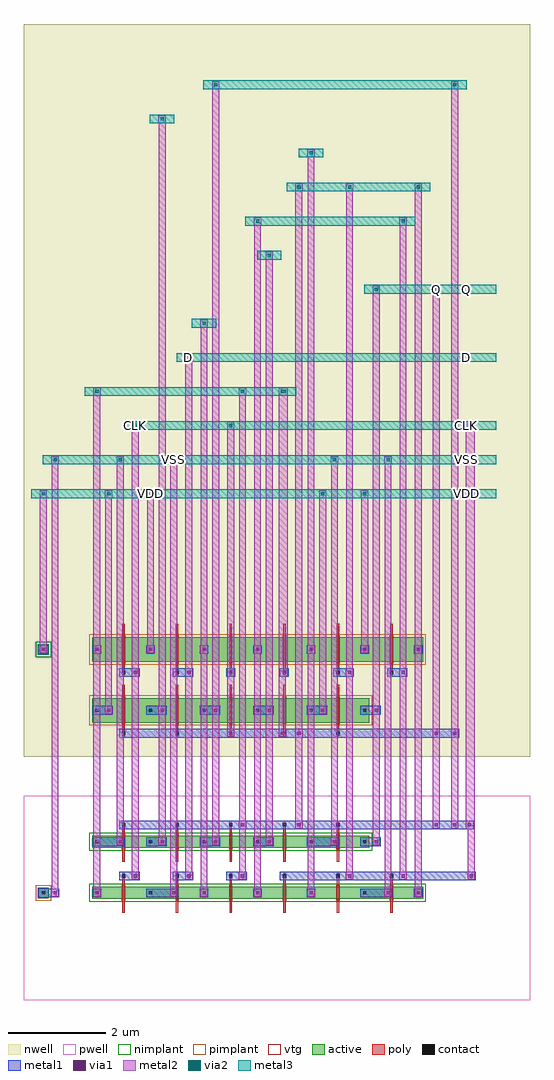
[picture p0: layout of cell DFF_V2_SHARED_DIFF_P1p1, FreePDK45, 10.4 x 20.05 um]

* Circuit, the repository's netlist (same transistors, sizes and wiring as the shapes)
* cell DFF_V2_SHARED_DIFF_P1p1
* pin D
* pin CLK,Q
* pin VDD
* pin VSS
.SUBCKT DFF_V2_SHARED_DIFF_P1p1 3 6 7 8
* net 3 D
* net 6 CLK,Q
* net 7 VDD
* net 8 VSS
* device instance $1 r0 *1 1.75,7 PMOS_VTG
M$1 7 6 6 7 PMOS_VTG L=0.05U W=1.5U AS=0.8375P AD=0.8875P PS=5.35U PD=6.05U
* device instance $2 r0 *1 2.85,7 PMOS_VTG
M$2 1 3 7 7 PMOS_VTG L=0.05U W=0.5U AS=0.2625P AD=0.2625P PS=1.55U PD=1.55U
* device instance $3 r0 *1 3.95,7 PMOS_VTG
M$3 6 6 1 7 PMOS_VTG L=0.05U W=0.5U AS=0.2625P AD=0.2625P PS=1.55U PD=1.55U
* device instance $4 r0 *1 5.05,7 PMOS_VTG
M$4 2 6 6 7 PMOS_VTG L=0.05U W=0.5U AS=0.2625P AD=0.2625P PS=1.55U PD=1.55U
* device instance $5 r0 *1 6.15,7 PMOS_VTG
M$5 7 6 2 7 PMOS_VTG L=0.05U W=0.5U AS=0.2625P AD=0.2625P PS=1.55U PD=1.55U
* device instance $7 r0 *1 1.75,5.75 PMOS_VTG
M$7 4 6 7 7 PMOS_VTG L=0.05U W=0.5U AS=0.3125P AD=0.2625P PS=2.25U PD=1.55U
* device instance $8 r0 *1 2.85,5.75 PMOS_VTG
M$8 6 6 4 7 PMOS_VTG L=0.05U W=0.5U AS=0.2625P AD=0.2625P PS=1.55U PD=1.55U
* device instance $9 r0 *1 3.95,5.75 PMOS_VTG
M$9 5 6 6 7 PMOS_VTG L=0.05U W=0.5U AS=0.2625P AD=0.2625P PS=1.55U PD=1.55U
* device instance $10 r0 *1 5.05,5.75 PMOS_VTG
M$10 7 6 5 7 PMOS_VTG L=0.05U W=0.5U AS=0.2625P AD=0.2625P PS=1.55U PD=1.55U
* device instance $12 r0 *1 1.75,3.05 NMOS_VTG
M$12 4 6 8 8 NMOS_VTG L=0.05U W=0.25U AS=0.15625P AD=0.13125P PS=1.75U PD=1.3U
* device instance $13 r0 *1 2.85,3.05 NMOS_VTG
M$13 6 6 4 8 NMOS_VTG L=0.05U W=0.25U AS=0.13125P AD=0.13125P PS=1.3U PD=1.3U
* device instance $14 r0 *1 3.95,3.05 NMOS_VTG
M$14 5 6 6 8 NMOS_VTG L=0.05U W=0.25U AS=0.13125P AD=0.13125P PS=1.3U PD=1.3U
* device instance $15 r0 *1 5.05,3.05 NMOS_VTG
M$15 8 6 5 8 NMOS_VTG L=0.05U W=0.25U AS=0.13125P AD=0.13125P PS=1.3U PD=1.3U
* device instance $16 r0 *1 6.15,3.05 NMOS_VTG
M$16 6 6 8 8 NMOS_VTG L=0.05U W=0.75U AS=0.41875P AD=0.44375P PS=4.35U PD=4.8U
* device instance $18 r0 *1 2.85,2 NMOS_VTG
M$18 1 3 8 8 NMOS_VTG L=0.05U W=0.25U AS=0.13125P AD=0.13125P PS=1.3U PD=1.3U
* device instance $19 r0 *1 3.95,2 NMOS_VTG
M$19 6 6 1 8 NMOS_VTG L=0.05U W=0.25U AS=0.13125P AD=0.13125P PS=1.3U PD=1.3U
* device instance $20 r0 *1 5.05,2 NMOS_VTG
M$20 2 6 6 8 NMOS_VTG L=0.05U W=0.25U AS=0.13125P AD=0.13125P PS=1.3U PD=1.3U
* device instance $21 r0 *1 6.15,2 NMOS_VTG
M$21 8 6 2 8 NMOS_VTG L=0.05U W=0.25U AS=0.13125P AD=0.13125P PS=1.3U PD=1.3U
.ENDS DFF_V2_SHARED_DIFF_P1p1

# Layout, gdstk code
import gdstk
lib = gdstk.Library(unit=1e-6, precision=5e-10)
def R(c, l, rs):  # rectangles x0, y0, x1, y1
    for r in rs: c.add(gdstk.rectangle(r[:2], r[2:], *l))
def A(c, l, x, y, w, h, nx, ny, dx, dy):  # array of equal rectangles
    R(c, l, [(x+i*dx, y+j*dy, x+i*dx+w, y+j*dy+h) for i in range(nx) for j in range(ny)])
active = (1, 0)
pwell = (2, 0)
nwell = (3, 0)
nimplant = (4, 0)
pimplant = (5, 0)
vtg = (6, 0)
poly = (9, 0)
contact = (10, 0)
metal1 = (11, 0)
via1 = (12, 0)
metal2 = (13, 0)
via2 = (14, 0)
metal3 = (15, 0)

dff_v2_shared_diff_p1p1 = lib.new_cell('DFF_V2_SHARED_DIFF_P1p1')
R(dff_v2_shared_diff_p1p1, active, [(1.1,1.875,7.9,2.125), (-0.01,1.89,0.21,2.11), (1.1,2.925,6.8,3.175), (1.1,5.5,6.8,6), (1.1,6.75,7.9,7.25), (-0.01,6.89,0.21,7.11)])
R(dff_v2_shared_diff_p1p1, pwell, [(-0.3,-0.2,10.1,4)])
R(dff_v2_shared_diff_p1p1, nwell, [(-0.3,4.8,10.1,19.85)])
R(dff_v2_shared_diff_p1p1, nimplant, [(1.04,1.815,7.96,2.185), (1.04,2.865,6.86,3.235), (-0.06,6.84,0.26,7.16)])
R(dff_v2_shared_diff_p1p1, pimplant, [(-0.06,1.84,0.26,2.16), (1.04,5.44,6.86,6.06), (1.04,6.69,7.96,7.31)])
A(dff_v2_shared_diff_p1p1, vtg, 1.715, 1.845, 0.07, 0.31, 6, 1, 1.1, 0)
A(dff_v2_shared_diff_p1p1, vtg, 1.715, 2.895, 0.07, 0.31, 5, 1, 1.1, 0)
A(dff_v2_shared_diff_p1p1, vtg, 1.715, 5.47, 0.07, 0.56, 5, 1, 1.1, 0)
A(dff_v2_shared_diff_p1p1, vtg, 1.715, 6.72, 0.07, 0.56, 6, 1, 1.1, 0)
A(dff_v2_shared_diff_p1p1, poly, 1.725, 1.595, 0.05, 0.81, 6, 1, 1.1, 0)
A(dff_v2_shared_diff_p1p1, poly, 1.725, 2.645, 0.05, 0.81, 5, 1, 1.1, 0)
A(dff_v2_shared_diff_p1p1, poly, 1.725, 5.22, 0.05, 1.06, 5, 1, 1.1, 0)
A(dff_v2_shared_diff_p1p1, poly, 1.725, 6.47, 0.05, 1.06, 6, 1, 1.1, 0)
A(dff_v2_shared_diff_p1p1, contact, 0.07, 1.97, 0.065, 0.065, 8, 2, 1.1, 5)
A(dff_v2_shared_diff_p1p1, contact, 1.72, 2.315, 0.065, 0.065, 6, 2, 1.1, 4.185)
A(dff_v2_shared_diff_p1p1, contact, 1.17, 3.02, 0.065, 0.065, 6, 2, 1.1, 2.7)
A(dff_v2_shared_diff_p1p1, contact, 1.72, 3.365, 0.065, 0.065, 5, 2, 1.1, 1.885)
A(dff_v2_shared_diff_p1p1, metal1, 1.75, 2.255, 0.24, 0.18, 3, 1, 1.1, 0)
A(dff_v2_shared_diff_p1p1, metal1, 2.3, 2.96, 0.24, 0.18, 3, 1, 1.1, 0)
A(dff_v2_shared_diff_p1p1, metal1, 1.66, 3.305, 0.18, 0.18, 3, 2, 1.1, 1.885)
A(dff_v2_shared_diff_p1p1, metal1, 1.2, 5.66, 0.24, 0.18, 6, 1, 1.1, 0)
R(dff_v2_shared_diff_p1p1, metal1, [(0,1.9,0.2,2.1), (0.1,1.91,0.34,2.09), (0.25,1.91,0.43,2.09), (1.11,1.91,1.29,2.09), (1.11,1.91,1.29,2.09), (2.21,1.91,2.39,2.09), (2.3,1.91,2.78,2.09), (2.69,1.91,2.87,2.09), (3.31,1.91,3.49,2.09), (3.31,1.91,3.49,2.09), (4.41,1.91,4.59,2.09), (4.41,1.91,4.59,2.09), (5.51,1.91,5.69,2.09), (5.51,1.91,5.69,2.09), (6.61,1.91,6.79,2.09), (6.7,1.91,7.18,2.09), (7.09,1.91,7.27,2.09), (7.71,1.91,7.89,2.09), (7.71,1.91,7.89,2.09), (1.66,2.255,1.84,2.435), (1.9,2.255,2.08,2.435), (2.76,2.255,2.94,2.435), (3,2.255,3.18,2.435), (3.86,2.255,4.04,2.435), (4.1,2.255,4.28,2.435), (4.96,2.255,5.14,2.435), (5.05,2.255,8.89,2.435), (6.06,2.255,6.24,2.435), (6.15,2.255,6.39,2.435), (6.3,2.255,6.48,2.435), (7.16,2.255,7.34,2.435), (7.25,2.255,7.49,2.435), (7.4,2.255,7.58,2.435), (8.8,2.255,8.98,2.435), (1.11,2.96,1.29,3.14), (1.2,2.96,1.68,3.14), (1.59,2.96,1.77,3.14), (2.21,2.96,2.39,3.14), (2.45,2.96,2.63,3.14), (3.31,2.96,3.49,3.14), (3.55,2.96,3.73,3.14), (4.41,2.96,4.59,3.14), (4.65,2.96,4.83,3.14), (5.51,2.96,5.69,3.14), (5.6,2.96,6.08,3.14), (5.99,2.96,6.17,3.14), (6.61,2.96,6.79,3.14), (6.7,2.96,6.94,3.14), (6.85,2.96,7.03,3.14), (1.75,3.305,5.35,3.485), (2.85,3.305,8.85,3.485), (3.95,3.305,4.19,3.485), (4.1,3.305,4.28,3.485), (4.96,3.305,5.14,3.485), (5.05,3.305,8.17,3.485), (5.26,3.305,5.44,3.485), (6.06,3.305,6.24,3.485), (6.15,3.305,8.55,3.485), (8.08,3.305,8.26,3.485), (8.46,3.305,8.64,3.485), (8.76,3.305,8.94,3.485), (1.75,5.19,5.35,5.37), (2.85,5.19,5.01,5.37), (3.86,5.19,4.04,5.37), (4.92,5.19,5.1,5.37), (4.96,5.19,5.14,5.37), (5.05,5.19,8.17,5.37), (5.26,5.19,5.44,5.37), (6.06,5.19,6.24,5.37), (6.15,5.19,8.55,5.37), (8.08,5.19,8.26,5.37), (8.46,5.19,8.64,5.37), (1.11,5.66,1.29,5.84), (1.35,5.66,1.53,5.84), (2.21,5.66,2.39,5.84), (2.45,5.66,2.63,5.84), (3.31,5.66,3.49,5.84), (3.55,5.66,3.73,5.84), (4.41,5.66,4.59,5.84), (4.65,5.66,4.83,5.84), (5.51,5.66,5.69,5.84), (5.75,5.66,5.93,5.84), (6.61,5.66,6.79,5.84), (6.85,5.66,7.03,5.84), (1.66,6.44,1.84,6.62), (1.75,6.44,1.99,6.62), (1.9,6.44,2.08,6.62), (2.76,6.44,2.94,6.62), (2.85,6.44,3.09,6.62), (3,6.44,3.18,6.62), (3.86,6.44,4.04,6.62), (3.86,6.44,4.04,6.62), (4.96,6.44,5.14,6.62), (4.96,6.44,5.14,6.62), (6.06,6.44,6.24,6.62), (6.15,6.44,6.39,6.62), (6.3,6.44,6.48,6.62), (7.16,6.44,7.34,6.62), (7.25,6.44,7.49,6.62), (7.4,6.44,7.58,6.62), (0,6.9,0.2,7.1), (0.01,6.91,0.19,7.09), (1.11,6.91,1.29,7.09), (1.11,6.91,1.29,7.09), (2.21,6.91,2.39,7.09), (2.21,6.91,2.39,7.09), (3.31,6.91,3.49,7.09), (3.31,6.91,3.49,7.09), (4.41,6.91,4.59,7.09), (4.41,6.91,4.59,7.09), (5.51,6.91,5.69,7.09), (5.51,6.91,5.69,7.09), (6.61,6.91,6.79,7.09), (6.61,6.91,6.79,7.09), (7.71,6.91,7.89,7.09), (7.71,6.91,7.89,7.09)])
A(dff_v2_shared_diff_p1p1, via1, 3.37, 1.97, 0.065, 0.065, 3, 1, 1.1, 0)
A(dff_v2_shared_diff_p1p1, via1, 1.96, 2.315, 0.065, 0.065, 3, 1, 1.1, 0)
A(dff_v2_shared_diff_p1p1, via1, 2.51, 3.02, 0.065, 0.065, 3, 1, 1.1, 0)
A(dff_v2_shared_diff_p1p1, via1, 1.41, 5.72, 0.065, 0.065, 6, 1, 1.1, 0)
A(dff_v2_shared_diff_p1p1, via1, 0.07, 6.97, 0.065, 0.065, 8, 1, 1.1, 0)
R(dff_v2_shared_diff_p1p1, via1, [(0.31,1.97,0.375,2.035), (1.17,1.97,1.235,2.035), (2.75,1.97,2.815,2.035), (7.15,1.97,7.215,2.035), (7.77,1.97,7.835,2.035), (6.36,2.315,6.425,2.38), (7.46,2.315,7.525,2.38), (8.86,2.315,8.925,2.38), (1.65,3.02,1.715,3.085), (6.05,3.02,6.115,3.085), (6.91,3.02,6.975,3.085), (4.16,3.365,4.225,3.43), (5.32,3.365,5.385,3.43), (8.14,3.365,8.205,3.43), (8.52,3.365,8.585,3.43), (8.82,3.365,8.885,3.43), (3.92,5.25,3.985,5.315), (4.98,5.25,5.045,5.315), (5.32,5.25,5.385,5.315), (8.14,5.25,8.205,5.315), (8.52,5.25,8.585,5.315), (1.96,6.5,2.025,6.565), (3.06,6.5,3.125,6.565), (3.92,6.5,3.985,6.565), (5.02,6.5,5.085,6.565), (6.36,6.5,6.425,6.565), (7.46,6.5,7.525,6.565)])
A(dff_v2_shared_diff_p1p1, metal2, 3.325, 1.925, 0.15, 0.15, 3, 1, 1.1, 0)
A(dff_v2_shared_diff_p1p1, metal2, 1.915, 2.27, 0.15, 0.15, 3, 1, 1.1, 0)
A(dff_v2_shared_diff_p1p1, metal2, 2.465, 2.975, 0.15, 0.15, 3, 1, 1.1, 0)
A(dff_v2_shared_diff_p1p1, metal2, 1.365, 5.675, 0.15, 0.15, 6, 1, 1.1, 0)
A(dff_v2_shared_diff_p1p1, metal2, 0.025, 6.925, 0.15, 0.15, 8, 1, 1.1, 0)
R(dff_v2_shared_diff_p1p1, metal2, [(0.265,1.925,0.415,2.075), (1.125,1.925,1.275,2.075), (2.705,1.925,2.855,2.075), (7.105,1.925,7.255,2.075), (7.725,1.925,7.875,2.075), (0.27,2,0.41,10.9), (1.13,2,1.27,12.3), (2.71,2,2.85,10.9), (3.33,2,3.47,13.7), (4.43,2,4.57,15.8), (5.53,2,5.67,17.2), (7.11,2,7.25,10.9), (7.73,2,7.87,16.5), (6.315,2.27,6.465,2.42), (7.415,2.27,7.565,2.42), (8.815,2.27,8.965,2.42), (1.92,2.345,2.06,11.6), (3.02,2.345,3.16,13), (4.12,2.345,4.26,12.3), (6.32,2.345,6.46,16.5), (7.42,2.345,7.56,15.8), (8.82,2.345,8.96,11.6), (1.605,2.975,1.755,3.125), (6.005,2.975,6.155,3.125), (6.865,2.975,7.015,3.125), (1.61,3.05,1.75,10.9), (2.47,3.05,2.61,17.9), (3.57,3.05,3.71,18.6), (4.67,3.05,4.81,15.1), (6.01,3.05,6.15,10.9), (6.87,3.05,7.01,14.4), (4.115,3.32,4.265,3.47), (5.275,3.32,5.425,3.47), (8.095,3.32,8.245,3.47), (8.475,3.32,8.625,3.47), (8.775,3.32,8.925,3.47), (4.12,3.395,4.26,12.3), (5.28,3.395,5.42,16.5), (8.1,3.395,8.24,14.4), (8.48,3.395,8.62,18.6), (8.78,3.395,8.92,11.6), (3.875,5.205,4.025,5.355), (4.935,5.205,5.085,5.355), (5.275,5.205,5.425,5.355), (8.095,5.205,8.245,5.355), (8.475,5.205,8.625,5.355), (3.88,5.28,4.02,11.6), (4.94,5.28,5.08,12.3), (5.28,5.28,5.42,16.5), (8.1,5.28,8.24,14.4), (8.48,5.28,8.62,18.6), (1.37,5.75,1.51,10.2), (2.47,5.75,2.61,17.9), (3.57,5.75,3.71,18.6), (4.67,5.75,4.81,15.1), (5.77,5.75,5.91,10.2), (6.87,5.75,7.01,14.4), (1.915,6.455,2.065,6.605), (3.015,6.455,3.165,6.605), (3.875,6.455,4.025,6.605), (4.975,6.455,5.125,6.605), (6.315,6.455,6.465,6.605), (7.415,6.455,7.565,6.605), (1.92,6.53,2.06,11.6), (3.02,6.53,3.16,13), (3.88,6.53,4.02,11.6), (4.98,6.53,5.12,12.3), (6.32,6.53,6.46,16.5), (7.42,6.53,7.56,15.8), (0.03,7,0.17,10.2), (1.13,7,1.27,12.3), (2.23,7,2.37,10.2), (3.33,7,3.47,13.7), (4.43,7,4.57,15.8), (5.53,7,5.67,17.2), (6.63,7,6.77,10.2), (7.73,7,7.87,16.5), (0.025,10.125,0.175,10.275), (1.365,10.125,1.515,10.275), (2.225,10.125,2.375,10.275), (5.765,10.125,5.915,10.275), (6.625,10.125,6.775,10.275), (0.265,10.825,0.415,10.975), (1.605,10.825,1.755,10.975), (2.705,10.825,2.855,10.975), (6.005,10.825,6.155,10.975), (7.105,10.825,7.255,10.975), (1.915,11.525,2.065,11.675), (1.915,11.525,2.065,11.675), (3.875,11.525,4.025,11.675), (3.875,11.525,4.025,11.675), (8.775,11.525,8.925,11.675), (8.815,11.525,8.965,11.675), (1.125,12.225,1.275,12.375), (1.125,12.225,1.275,12.375), (4.115,12.225,4.265,12.375), (4.115,12.225,4.265,12.375), (4.935,12.225,5.085,12.375), (4.975,12.225,5.125,12.375), (3.015,12.925,3.165,13.075), (3.015,12.925,3.165,13.075), (3.325,13.625,3.475,13.775), (3.325,13.625,3.475,13.775), (6.865,14.325,7.015,14.475), (6.865,14.325,7.015,14.475), (8.095,14.325,8.245,14.475), (8.095,14.325,8.245,14.475), (4.665,15.025,4.815,15.175), (4.665,15.025,4.815,15.175), (4.425,15.725,4.575,15.875), (4.425,15.725,4.575,15.875), (7.415,15.725,7.565,15.875), (7.415,15.725,7.565,15.875), (5.275,16.425,5.425,16.575), (5.275,16.425,5.425,16.575), (6.315,16.425,6.465,16.575), (6.315,16.425,6.465,16.575), (7.725,16.425,7.875,16.575), (7.725,16.425,7.875,16.575), (5.525,17.125,5.675,17.275), (5.525,17.125,5.675,17.275), (2.465,17.825,2.615,17.975), (2.465,17.825,2.615,17.975), (3.565,18.525,3.715,18.675), (3.565,18.525,3.715,18.675), (8.475,18.525,8.625,18.675), (8.475,18.525,8.625,18.675)])
R(dff_v2_shared_diff_p1p1, via2, [(0.07,10.17,0.135,10.235), (1.41,10.17,1.475,10.235), (2.27,10.17,2.335,10.235), (5.81,10.17,5.875,10.235), (6.67,10.17,6.735,10.235), (0.31,10.87,0.375,10.935), (1.65,10.87,1.715,10.935), (2.75,10.87,2.815,10.935), (6.05,10.87,6.115,10.935), (7.15,10.87,7.215,10.935), (1.96,11.57,2.025,11.635), (1.96,11.57,2.025,11.635), (3.92,11.57,3.985,11.635), (3.92,11.57,3.985,11.635), (8.82,11.57,8.885,11.635), (8.86,11.57,8.925,11.635), (1.17,12.27,1.235,12.335), (1.17,12.27,1.235,12.335), (4.16,12.27,4.225,12.335), (4.16,12.27,4.225,12.335), (4.98,12.27,5.045,12.335), (5.02,12.27,5.085,12.335), (3.06,12.97,3.125,13.035), (3.06,12.97,3.125,13.035), (3.37,13.67,3.435,13.735), (3.37,13.67,3.435,13.735), (6.91,14.37,6.975,14.435), (6.91,14.37,6.975,14.435), (8.14,14.37,8.205,14.435), (8.14,14.37,8.205,14.435), (4.71,15.07,4.775,15.135), (4.71,15.07,4.775,15.135), (4.47,15.77,4.535,15.835), (4.47,15.77,4.535,15.835), (7.46,15.77,7.525,15.835), (7.46,15.77,7.525,15.835), (5.32,16.47,5.385,16.535), (5.32,16.47,5.385,16.535), (6.36,16.47,6.425,16.535), (6.36,16.47,6.425,16.535), (7.77,16.47,7.835,16.535), (7.77,16.47,7.835,16.535), (5.57,17.17,5.635,17.235), (5.57,17.17,5.635,17.235), (2.51,17.87,2.575,17.935), (2.51,17.87,2.575,17.935), (3.61,18.57,3.675,18.635), (3.61,18.57,3.675,18.635), (8.52,18.57,8.585,18.635), (8.52,18.57,8.585,18.635)])
R(dff_v2_shared_diff_p1p1, metal3, [(-0.15,10.11,6.95,10.29), (6.95,10.11,9.4,10.29), (0.025,10.125,0.175,10.275), (1.365,10.125,1.515,10.275), (2.225,10.125,2.375,10.275), (5.765,10.125,5.915,10.275), (6.625,10.125,6.775,10.275), (0.09,10.81,7.43,10.99), (7.43,10.81,9.4,10.99), (0.265,10.825,0.415,10.975), (1.605,10.825,1.755,10.975), (2.705,10.825,2.855,10.975), (6.005,10.825,6.155,10.975), (7.105,10.825,7.255,10.975), (1.74,11.51,9.14,11.69), (9.14,11.51,9.4,11.69), (1.915,11.525,2.065,11.675), (1.915,11.525,2.065,11.675), (3.875,11.525,4.025,11.675), (3.875,11.525,4.025,11.675), (8.775,11.525,8.925,11.675), (8.815,11.525,8.965,11.675), (0.95,12.21,5.3,12.39), (1.125,12.225,1.275,12.375), (1.125,12.225,1.275,12.375), (4.115,12.225,4.265,12.375), (4.115,12.225,4.265,12.375), (4.935,12.225,5.085,12.375), (4.975,12.225,5.125,12.375), (2.84,12.91,3.34,13.09), (3.34,12.91,9.4,13.09), (3.015,12.925,3.165,13.075), (3.015,12.925,3.165,13.075), (3.15,13.61,3.65,13.79), (3.325,13.625,3.475,13.775), (3.325,13.625,3.475,13.775), (6.69,14.31,8.42,14.49), (8.42,14.31,9.4,14.49), (6.865,14.325,7.015,14.475), (6.865,14.325,7.015,14.475), (8.095,14.325,8.245,14.475), (8.095,14.325,8.245,14.475), (4.49,15.01,4.99,15.19), (4.665,15.025,4.815,15.175), (4.665,15.025,4.815,15.175), (4.25,15.71,7.74,15.89), (4.425,15.725,4.575,15.875), (4.425,15.725,4.575,15.875), (7.415,15.725,7.565,15.875), (7.415,15.725,7.565,15.875), (5.1,16.41,8.05,16.59), (5.275,16.425,5.425,16.575), (5.275,16.425,5.425,16.575), (6.315,16.425,6.465,16.575), (6.315,16.425,6.465,16.575), (7.725,16.425,7.875,16.575), (7.725,16.425,7.875,16.575), (5.35,17.11,5.85,17.29), (5.525,17.125,5.675,17.275), (5.525,17.125,5.675,17.275), (2.29,17.81,2.79,17.99), (2.465,17.825,2.615,17.975), (2.465,17.825,2.615,17.975), (3.39,18.51,8.8,18.69), (3.565,18.525,3.715,18.675), (3.565,18.525,3.715,18.675), (8.475,18.525,8.625,18.675), (8.475,18.525,8.625,18.675)])
dff_v2_shared_diff_p1p1.add(gdstk.Label('VDD', (8.8,10.2), layer=15, texttype=0))
dff_v2_shared_diff_p1p1.add(gdstk.Label('VDD', (8.8,10.2), layer=15, texttype=1))
dff_v2_shared_diff_p1p1.add(gdstk.Label('VDD', (8.8,10.2), layer=15, texttype=2))
dff_v2_shared_diff_p1p1.add(gdstk.Label('VDD', (2.3,10.2), layer=13, texttype=0))
dff_v2_shared_diff_p1p1.add(gdstk.Label('VDD', (2.3,10.2), layer=13, texttype=1))
dff_v2_shared_diff_p1p1.add(gdstk.Label('VDD', (2.3,10.2), layer=13, texttype=2))
dff_v2_shared_diff_p1p1.add(gdstk.Label('VSS', (8.8,10.9), layer=15, texttype=0))
dff_v2_shared_diff_p1p1.add(gdstk.Label('VSS', (8.8,10.9), layer=15, texttype=1))
dff_v2_shared_diff_p1p1.add(gdstk.Label('VSS', (8.8,10.9), layer=15, texttype=2))
dff_v2_shared_diff_p1p1.add(gdstk.Label('VSS', (2.78,10.9), layer=13, texttype=0))
dff_v2_shared_diff_p1p1.add(gdstk.Label('VSS', (2.78,10.9), layer=13, texttype=1))
dff_v2_shared_diff_p1p1.add(gdstk.Label('VSS', (2.78,10.9), layer=13, texttype=2))
dff_v2_shared_diff_p1p1.add(gdstk.Label('CLK', (8.8,11.6), layer=15, texttype=0))
dff_v2_shared_diff_p1p1.add(gdstk.Label('CLK', (8.8,11.6), layer=15, texttype=1))
dff_v2_shared_diff_p1p1.add(gdstk.Label('CLK', (8.8,11.6), layer=15, texttype=2))
dff_v2_shared_diff_p1p1.add(gdstk.Label('CLK', (1.99,11.6), layer=13, texttype=0))
dff_v2_shared_diff_p1p1.add(gdstk.Label('CLK', (1.99,11.6), layer=13, texttype=1))
dff_v2_shared_diff_p1p1.add(gdstk.Label('CLK', (1.99,11.6), layer=13, texttype=2))
dff_v2_shared_diff_p1p1.add(gdstk.Label('D', (8.8,13), layer=15, texttype=0))
dff_v2_shared_diff_p1p1.add(gdstk.Label('D', (8.8,13), layer=15, texttype=1))
dff_v2_shared_diff_p1p1.add(gdstk.Label('D', (8.8,13), layer=15, texttype=2))
dff_v2_shared_diff_p1p1.add(gdstk.Label('D', (3.09,13), layer=13, texttype=0))
dff_v2_shared_diff_p1p1.add(gdstk.Label('D', (3.09,13), layer=13, texttype=1))
dff_v2_shared_diff_p1p1.add(gdstk.Label('D', (3.09,13), layer=13, texttype=2))
dff_v2_shared_diff_p1p1.add(gdstk.Label('Q', (8.8,14.4), layer=15, texttype=0))
dff_v2_shared_diff_p1p1.add(gdstk.Label('Q', (8.8,14.4), layer=15, texttype=1))
dff_v2_shared_diff_p1p1.add(gdstk.Label('Q', (8.8,14.4), layer=15, texttype=2))
dff_v2_shared_diff_p1p1.add(gdstk.Label('Q', (8.17,14.4), layer=13, texttype=0))
dff_v2_shared_diff_p1p1.add(gdstk.Label('Q', (8.17,14.4), layer=13, texttype=1))
dff_v2_shared_diff_p1p1.add(gdstk.Label('Q', (8.17,14.4), layer=13, texttype=2))

lib.write_gds('DFF_V2_SHARED_DIFF_P1p1.gds')
